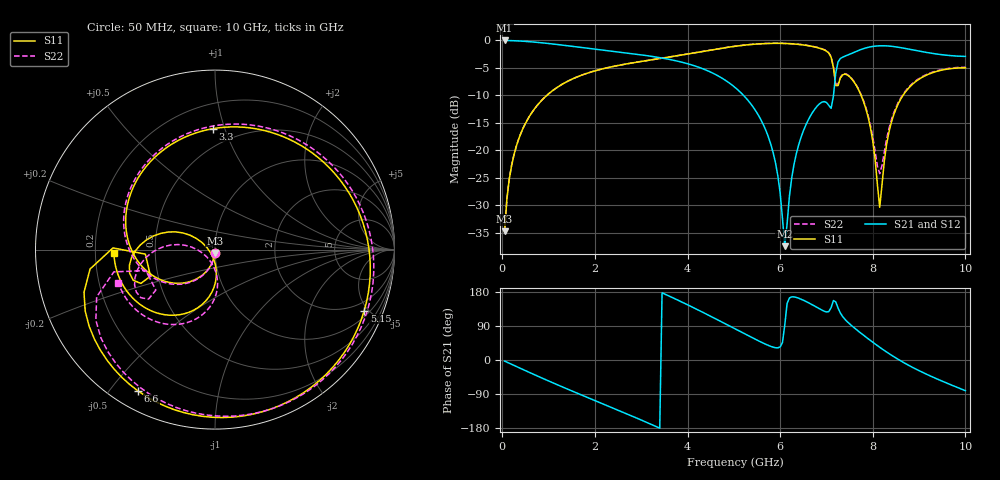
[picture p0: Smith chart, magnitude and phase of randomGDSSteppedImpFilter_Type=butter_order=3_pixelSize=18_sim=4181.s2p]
! freq	dB(S11)	phase(S11)	dB(S12)	phase(S12)
!  dB(S21)	phase(S21)	dB(S22)	phase(S22)
!S-par simulation data
#  GHz  S  DB  R 50
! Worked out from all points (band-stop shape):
!   200 points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, 50 MHz to 10 GHz, reference 50 ohm
!   highest |S21| = 0.00 dB at 50 MHz (marker M1); lowest = -37.5 dB at 6.1 GHz (marker M2)
!   |S21| within 3 dB of the highest: start of sweep to 3.306 GHz; 7.361 GHz to end of sweep
!   lowest |S11| = -34.8 dB at 50 MHz (marker M3), VSWR 1.04, Z = 49.9 - j1.82 ohm
!   |S11| at or under -10 dB: start of sweep to 963 MHz; 7.749 GHz to 8.653 GHz (904.8 MHz wide, 11 % of centre)
!   |S22| runs from -34.8 to -0.5 dB; largest |S21 - S12| = 0
!   S11 on the Smith chart (normalised r, x): 50 MHz: 1.00, -0.04; 3.3 GHz: 0.37, +0.91; 5.15 GHz: 1.34, -4.73; 6.6 GHz: 0.07, -0.59; 10 GHz: 0.28, -0.02
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0.05  -34.79 -92.9  -0.00 -2.9  -0.00 -2.9  -34.79 -92.8
0.2  -22.81 -101.9  -0.04 -11.3  -0.04 -11.3  -22.81 -101.5
0.5  -15.11 -119.3  -0.17 -28.1  -0.17 -28.1  -15.10 -118.3
1.75  -6.21 173.2  -1.32 -94.3  -1.32 -94.3  -6.21 176.8
3.3  -3.43 91.0  -3.00 -174.5  -3.00 -174.5  -3.43 98.5
3.4  -3.30 85.4  -3.14 -179.9  -3.14 -179.9  -3.29 93.2
4.2  -2.18 38.2  -4.76 133.8  -4.76 133.8  -2.18 47.8
5.05  -1.04 -15.7  -8.73 80.6  -8.73 80.6  -1.03 -5.3
5.15  -0.93 -22.2  -9.50 74.3  -9.50 74.3  -0.92 -11.7
5.8  -0.54 -64.6  -18.96 35.9  -18.96 35.9  -0.52 -53.8
6.1  -0.55 -84.2  -37.47 92.6  -37.47 92.6  -0.53 -73.4
6.3  -0.65 -97.6  -22.53 166.5  -22.53 166.5  -0.63 -86.6
6.6  -0.95 -118.6  -14.60 151.8  -14.60 151.8  -0.92 -107.2
6.7  -1.10 -126.2  -13.10 145.4  -13.10 145.4  -1.08 -114.6
7.05  -2.30 -162.0  -11.81 127.8  -11.81 127.8  -2.25 -149.3
7.15  -4.91 179.0  -10.16 156.9  -10.16 156.9  -4.78 -167.6
7.25  -8.21 -157.6  -3.92 137.2  -3.92 137.2  -7.97 -145.6
7.8  -11.12 159.3  -1.49 65.4  -1.49 65.4  -10.97 176.5
8.15  -30.38 -147.9  -0.97 33.6  -0.97 33.6  -24.25 -135.4
8.35  -16.66 -87.1  -1.02 16.9  -1.02 16.9  -16.04 -85.6
9.05  -6.79 -127.4  -2.02 -31.1  -2.02 -31.1  -6.68 -116.1
10  -4.98 -178.0  -2.91 -81.0  -2.91 -81.0  -4.89 -160.8
